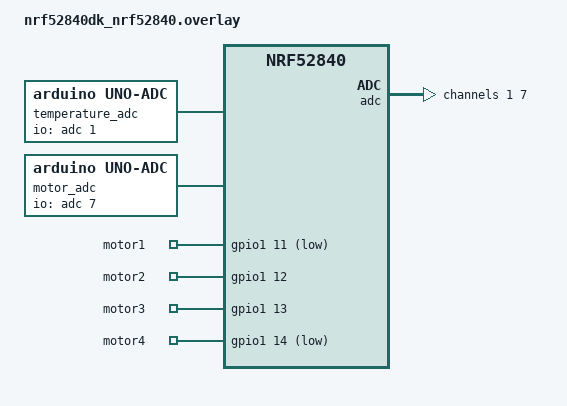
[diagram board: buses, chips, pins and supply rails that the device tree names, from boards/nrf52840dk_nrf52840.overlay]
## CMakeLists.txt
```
#
# Copyright (c) 2023 Nordic Semiconductor ASA
#
# SPDX-License-Identifier: LicenseRef-Nordic-5-Clause
#

cmake_minimum_required(VERSION 3.20.0)

# Set Kconfig root files that will be processed as a first Kconfig for used child images.
set(mcuboot_KCONFIG_ROOT "\\\${ZEPHYR_CONNECTEDHOMEIP_MODULE_DIR}/config/nrfconnect/chip-module/Kconfig.mcuboot.root")
set(multiprotocol_rpmsg_KCONFIG_ROOT "\\\${ZEPHYR_CONNECTEDHOMEIP_MODULE_DIR}/config/nrfconnect/chip-module/Kconfig.multiprotocol_rpmsg.root")
set(hci_rpmsg_KCONFIG_ROOT "\\\${ZEPHYR_CONNECTEDHOMEIP_MODULE_DIR}/config/nrfconnect/chip-module/Kconfig.hci_rpmsg.root")

# For prj.conf the CONF_FILE is empty. In other case extract the exact file name from the path string.
if(CONF_FILE)
    get_filename_component(CONFIG_FILE_NAME ${CONF_FILE} NAME)
endif()

if(NOT CONFIG_FILE_NAME STREQUAL "prj_no_dfu.conf")
    set(PM_STATIC_YML_FILE ${CMAKE_CURRENT_SOURCE_DIR}/configuration/${BOARD}/pm_static_dfu.yml)
endif()

find_package(Zephyr HINTS $ENV{ZEPHYR_BASE})

project(matter-template)

set(COMMON_ROOT ${ZEPHYR_NRF_MODULE_DIR}/samples/matter/common)
set(NLIO_ROOT ${ZEPHYR_CONNECTEDHOMEIP_MODULE_DIR}/third_party/nlio/repo)
include(${ZEPHYR_CONNECTEDHOMEIP_MODULE_DIR}/config/nrfconnect/app/enable-gnu-std.cmake)
include(${ZEPHYR_CONNECTEDHOMEIP_MODULE_DIR}/src/app/chip_data_model.cmake)

# NORDIC SDK APP START
target_include_directories(app PRIVATE
    src
    ${COMMON_ROOT}/src
    ${NLIO_ROOT}/include
    ${ZEPHYR_CONNECTEDHOMEIP_MODULE_DIR}/zzz_generated/app-common
)

target_sources(app PRIVATE
    src/app_task.cpp
    src/main.cpp
    src/temp_sensor_manager.cpp
    src/temperature_manager.cpp
    src/zcl_callbacks.cpp
    src/zap-generated/IMClusterCommandHandler.cpp
    src/zap-generated/callback-stub.cpp
    src/binding_handler.cpp
    ${COMMON_ROOT}/src/led_widget.cpp
)


if(CONFIG_CHIP_OTA_REQUESTOR OR CONFIG_MCUMGR_TRANSPORT_BT)
    target_sources(app PRIVATE ${COMMON_ROOT}/src/ota_util.cpp)
endif()

if(CONFIG_MCUMGR_TRANSPORT_BT)
    zephyr_library_link_libraries(MCUBOOT_BOOTUTIL)
    target_sources(app PRIVATE ${COMMON_ROOT}/src/dfu_over_smp.cpp)
endif()

if(CONFIG_THERMOSTAT_EXTERNAL_SENSOR)
    target_sources(app PRIVATE src/temperature_measurement/real_temp.cpp)
else()
if(CONFIG_THERMOSTAT_MEASURED_TEMPERATURE)
    target_sources(app PRIVATE src/temperature_measurement/measured_temperature.cpp)
else()
    target_sources(app PRIVATE src/temperature_measurement/simulated_temp.cpp)
endif()
endif()


chip_configure_data_model(app
    INCLUDE_SERVER
    BYPASS_IDL
    GEN_DIR src/zap-generated
    ZAP_FILE ${CMAKE_CURRENT_SOURCE_DIR}/src/thermostat.zap
)
# NORDIC SDK APP END
```

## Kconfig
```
#
# Copyright (c) 2023 Nordic Semiconductor
#
# SPDX-License-Identifier: LicenseRef-Nordic-5-Clause
#
mainmenu "Matter Thermostat sample application"

config THERMOSTAT_MEASURED_TEMPERATURE
	bool "Select if the temerature is simulated or measured with sensor."

config THERMOSTAT_EXTERNAL_SENSOR
	bool "Select if the temperature measurement is provided directly from an external sensor."
	help
	 Set to true to enable the temperature measurement from a physical external sensor. Set to false to simulate the temperature measurement.

config THERMOSTAT_TEMPERATURE_STEP
	int "Defines a simulated temperature step. Use 0 for random."
	default 0
	help
	  A temperature step that defines differences between consecutive simulated temperature measurements. If set to 0, then the step is random.

config THERMOSTAT_SIMULATED_TEMPERATURE_MAX
	int "Maximum simulated temperature value."
	default 3000

config THERMOSTAT_SIMULATED_TEMPERATURE_MIN
	int "Minimum simulated temperature value."
	default 1500

config THERMOSTAT_SIMULATED_TEMPERATURE_CHANGE
	bool "Select to set the temperature to rise or fall."
	default y
	help
	  If set to true, the simulated temperature is rising. If set to false, the simulated temperature is falling.


# Sample configuration used for Thread networking
if NET_L2_OPENTHREAD

choice OPENTHREAD_NORDIC_LIBRARY_CONFIGURATION
	default OPENTHREAD_NORDIC_LIBRARY_MTD
endchoice

choice OPENTHREAD_DEVICE_TYPE
	default OPENTHREAD_MTD
endchoice

endif # NET_L2_OPENTHREAD

source "${ZEPHYR_BASE}/../modules/lib/matter/config/nrfconnect/chip-module/Kconfig.features"
source "${ZEPHYR_BASE}/../modules/lib/matter/config/nrfconnect/chip-module/Kconfig.defaults"
source "Kconfig.zephyr"
```

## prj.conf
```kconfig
#
# Copyright (c) 2023 Nordic Semiconductor ASA
#
# SPDX-License-Identifier: LicenseRef-Nordic-5-Clause
#

# This sample uses Kconfig.defaults to set options common for all
# samples. This file should contain only options specific for this sample
# or overrides of default values.

# Enable CHIP
CONFIG_CHIP=y
CONFIG_CHIP_ENABLE_PAIRING_AUTOSTART=y
CONFIG_CHIP_PROJECT_CONFIG="src/chip_project_config.h"
# 32782 == 0x800e (example thermostat product)
CONFIG_CHIP_DEVICE_PRODUCT_ID=32782
CONFIG_STD_CPP14=y

# Add support for LEDs and buttons on Nordic development kits
CONFIG_DK_LIBRARY=y

# Bluetooth Low Energy configuration
CONFIG_BT_DEVICE_NAME="MatterThermo"

# Other settings
CONFIG_THREAD_NAME=y
CONFIG_MPU_STACK_GUARD=y
CONFIG_RESET_ON_FATAL_ERROR=n
CONFIG_CHIP_LIB_SHELL=y

# Disable NFC commissioning
CONFIG_CHIP_NFC_COMMISSIONING=y

# Reduce application size
CONFIG_USE_SEGGER_RTT=n

# Enable Factory Data feature
CONFIG_CHIP_FACTORY_DATA=y
CONFIG_CHIP_FACTORY_DATA_BUILD=y

CONFIG_THERMOSTAT_MEASURED_TEMPERATURE=y
CONFIG_ADC=y
```

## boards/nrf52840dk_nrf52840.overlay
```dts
/* Copyright (c) 2023 Nordic Semiconductor ASA
 *
 * SPDX-License-Identifier: LicenseRef-Nordic-5-Clause
 */

 / {
	chosen {
		nordic,pm-ext-flash = &mx25r64;
	};
	
	temperature_adc {
		compatible = "arduino,uno-adc";
		#io-channel-cells = <1>;
		io-channel-map = <0 &arduino_adc 0>;
		io-channels = <&adc 1>;
	};

	motor_adc {
		compatible = "arduino,uno-adc";
		#io-channel-cells = <1>;
		io-channel-map = <0 &arduino_adc 5>;
		io-channels = <&adc 7>;
	};

	leds {
		motor1: motor_1 {
			gpios = <&gpio1 11 (GPIO_ACTIVE_LOW)>;
		};

		motor2: motor_2 {
			gpios = <&gpio1 12 0>;
		};

		motor3: motor_3 {
			gpios = <&gpio1 13 0>;
		};

		motor4: motor_4 {
			gpios = <&gpio1 14 (GPIO_ACTIVE_LOW)>;
		};
	};
};


/ {
	/*
	* In some default configurations within the nRF Connect SDK,
	* e.g. on nRF52840, the chosen zephyr,entropy node is &cryptocell.
	* This devicetree overlay ensures that default is overridden wherever it
	* is set, as this application uses the RNG node for entropy exclusively.
	*/
	chosen {
		zephyr,entropy = &rng;
	};
};

/* Disable unused peripherals to reduce power consumption */
&adc {
	#address-cells = <1>;
	#size-cells = <0>;

	status = "okay";

	channel@1{
		reg = <1>;
		zephyr,gain = "ADC_GAIN_1_6";
		zephyr,reference = "ADC_REF_INTERNAL";
		zephyr,acquisition-time = <ADC_ACQ_TIME_DEFAULT>;
		zephyr,input-positive = <NRF_SAADC_AIN1>; /* P0.03 */
		zephyr,resolution = <12>;
	};

	channel@7{
		reg = <7>;
		zephyr,gain = "ADC_GAIN_1_6";
		zephyr,reference = "ADC_REF_INTERNAL";
		zephyr,acquisition-time = <ADC_ACQ_TIME_DEFAULT>;
		zephyr,input-positive = <NRF_SAADC_AIN7>; /* P0.31 */
		zephyr,resolution = <12>;
	};
};
&uart1 {
	status = "disabled";
};
&i2c0 {
	status = "disabled";
};
&pwm0 {
	status = "disabled";
};
&spi1 {
	status = "disabled";
};
&spi3 {
	status = "disabled";
};
&usbd {
	status = "disabled";
};
```

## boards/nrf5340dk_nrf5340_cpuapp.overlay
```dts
/*
 * Copyright (c) 2023 Nordic Semiconductor ASA
 *
 * SPDX-License-Identifier: LicenseRef-Nordic-5-Clause
 */

/ {
	chosen {
		nordic,pm-ext-flash = &mx25r64;
	};
	
	temperature_adc {
		compatible = "arduino,uno-adc";
		#io-channel-cells = <1>;
		io-channel-map = <0 &arduino_adc 0>;
		io-channels = <&adc 0>;
	};

	motor_adc {
		compatible = "arduino,uno-adc";
		#io-channel-cells = <1>;
		io-channel-map = <0 &arduino_adc 5>;
		io-channels = <&adc 5>;
	};

	leds {
		motor1: motor_1 {
			gpios = <&gpio1 11 (GPIO_ACTIVE_LOW)>;
		};

		motor2: motor_2 {
			gpios = <&gpio1 12 0>;
		};

		motor3: motor_3 {
			gpios = <&gpio1 13 0>;
		};

		motor4: motor_4 {
			gpios = <&gpio1 14 (GPIO_ACTIVE_LOW)>;
		};
	};
};

/* Disable unused peripherals to reduce power consumption */
&adc {
	#address-cells = <1>;
	#size-cells = <0>;

	status = "okay";

	channel@0{
		reg = <0>;
		zephyr,gain = "ADC_GAIN_1_6";
		zephyr,reference = "ADC_REF_INTERNAL";
		zephyr,acquisition-time = <ADC_ACQ_TIME_DEFAULT>;
		zephyr,input-positive = <NRF_SAADC_AIN0>; /* P0.04 */
		zephyr,resolution = <12>;
	};

	channel@5{
		reg = <5>;
		zephyr,gain = "ADC_GAIN_1_6";
		zephyr,reference = "ADC_REF_INTERNAL";
		zephyr,acquisition-time = <ADC_ACQ_TIME_DEFAULT>;
		zephyr,input-positive = <NRF_SAADC_AIN5>; /* P0.26 */
		zephyr,resolution = <12>;
	};
};
&i2c1 {
	status = "disabled";
};
&pwm0 {
	status = "disabled";
};
&spi2 {
	status = "disabled";
};
&usbd {
	status = "disabled";
};
```

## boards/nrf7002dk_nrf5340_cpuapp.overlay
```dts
/*
 * Copyright (c) 2023 Nordic Semiconductor ASA
 *
 * SPDX-License-Identifier: LicenseRef-Nordic-5-Clause
 */

/ {
	chosen {
		nordic,pm-ext-flash = &mx25r64;
	};

	temperature_adc {
		compatible = "arduino,uno-adc";
		#io-channel-cells = <1>;
		io-channel-map = <0 &arduino_adc 0>;
		io-channels = <&adc 0>;
	};

	motor_adc {
		compatible = "arduino,uno-adc";
		#io-channel-cells = <1>;
		io-channel-map = <0 &arduino_adc 5>;
		io-channels = <&adc 5>;
	};

	leds {
		motor1: motor_1 {
			gpios = <&gpio1 11 (GPIO_ACTIVE_LOW)>;
		};

		motor2: motor_2 {
			gpios = <&gpio1 12 0>;
		};

		motor3: motor_3 {
			gpios = <&gpio1 13 0>;
		};

		motor4: motor_4 {
			gpios = <&gpio1 14 (GPIO_ACTIVE_LOW)>;
		};
	};
};

&adc {
	#address-cells = <1>;
	#size-cells = <0>;

	status = "okay";

	channel@0{
		reg = <0>;
		zephyr,gain = "ADC_GAIN_1_6";
		zephyr,reference = "ADC_REF_INTERNAL";
		zephyr,acquisition-time = <ADC_ACQ_TIME_DEFAULT>;
		zephyr,input-positive = <NRF_SAADC_AIN0>; /* P0.04 */
		zephyr,resolution = <12>;
	};

	channel@5{
		reg = <5>;
		zephyr,gain = "ADC_GAIN_1_6";
		zephyr,reference = "ADC_REF_INTERNAL";
		zephyr,acquisition-time = <ADC_ACQ_TIME_DEFAULT>;
		zephyr,input-positive = <NRF_SAADC_AIN5>; /* P0.26 */
		zephyr,resolution = <12>;
	};
};
```

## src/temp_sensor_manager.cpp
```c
/*
 * Copyright (c) 2023 Nordic Semiconductor ASA
 *
 * SPDX-License-Identifier: LicenseRef-Nordic-5-Clause
 */

#include "temp_sensor_manager.h"
#include "app_task.h"
#include "temperature_measurement/sensor.h"

LOG_MODULE_DECLARE(app, CONFIG_CHIP_APP_LOG_LEVEL);

using namespace chip;
using namespace chip::DeviceLayer;

static constexpr EndpointId kThermostatEndpoint = 1;

k_timer sSensorTimer;

CHIP_ERROR TempSensorManager::Init()
{
	k_timer_init(&sSensorTimer, &TempSensorManager::TimerEventHandler, nullptr);
	k_timer_start(&sSensorTimer, K_MSEC(kSensorTimerPeriodMs), K_MSEC(kSensorTimerPeriodMs));
	return CHIP_NO_ERROR;
}

void TempSensorManager::TimerEventHandler(k_timer *timer)
{
	AppEvent event;
	event.Type = AppEventType::Timer;
	event.TimerEvent.Context = k_timer_user_data_get(timer);
	event.Handler = TempSensorManager::SensorTimerEventHandler;
	AppTask::Instance().PostEvent(event);
}

/*
 *	This function is called when the timer is stopped and initiate temperature measurement.
 *	Depending ond object given to GetMeasurement() function thermostat will use true temeprature device or simulated
 *	values
 */

void TempSensorManager::SensorTimerEventHandler(const AppEvent &Event)
{
#ifdef CONFIG_THERMOSTAT_EXTERNAL_SENSOR
	GetMeasurement(RealSensor::Instance());
#else
#ifdef CONFIG_THERMOSTAT_MEASURED_TEMPERATURE
	GetMeasurement(MeasuredSensor::Instance());
#else
	GetMeasurement(MockedSensor::Instance());
#endif
#endif
}

void TempSensorManager::SetLocalTemperature(int16_t temperature)
{
	PlatformMgr().LockChipStack();
	app::Clusters::Thermostat::Attributes::LocalTemperature::Set(kThermostatEndpoint, temperature);
	PlatformMgr().UnlockChipStack();
}

template <typename T> void TempSensorManager::GetMeasurement(T const &sensor)
{
	sensor.Instance().TemperatureMeasurement();
}
```

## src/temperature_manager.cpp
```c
/*
 * Copyright (c) 2023 Nordic Semiconductor ASA
 *
 * SPDX-License-Identifier: LicenseRef-Nordic-5-Clause
 */

#include "temperature_manager.h"
#include "app_config.h"
#include "app_task.h"
#include <zephyr/logging/log.h>

#include <zephyr/device.h>
#include <zephyr/devicetree.h>
#include <zephyr/drivers/gpio.h>
#include <zephyr/drivers/adc.h>
#include <zephyr/kernel.h>

LOG_MODULE_DECLARE(app, CONFIG_CHIP_APP_LOG_LEVEL);

#if !DT_NODE_EXISTS(DT_NODELABEL(motor1))
#error "Overlay for motor1 node not properly defined."
#endif
#if !DT_NODE_EXISTS(DT_NODELABEL(motor2))
#error "Overlay for motor2 node not properly defined."
#endif
#if !DT_NODE_EXISTS(DT_NODELABEL(motor3))
#error "Overlay for motor3 node not properly defined."
#endif
#if !DT_NODE_EXISTS(DT_NODELABEL(motor4))
#error "Overlay for motor4 node not properly defined."
#endif

static const struct gpio_dt_spec motor_1 =
	GPIO_DT_SPEC_GET(DT_NODELABEL(motor1), gpios);

static const struct gpio_dt_spec motor_2 =
	GPIO_DT_SPEC_GET(DT_NODELABEL(motor2), gpios);

static const struct gpio_dt_spec motor_3 =
	GPIO_DT_SPEC_GET(DT_NODELABEL(motor3), gpios);

static const struct gpio_dt_spec motor_4 =
	GPIO_DT_SPEC_GET(DT_NODELABEL(motor4), gpios);


#if !DT_NODE_EXISTS(DT_PATH(motor_adc)) || \
	!DT_NODE_HAS_PROP(DT_PATH(motor_adc), io_channels)
#error "No suitable devicetree overlay specified"
#endif
static const struct adc_dt_spec motor_adc =
	ADC_DT_SPEC_GET_BY_IDX(DT_PATH(motor_adc), 0);

using namespace chip;
using namespace ::chip::DeviceLayer;
using namespace ::chip::app::Clusters;

constexpr EndpointId kThermostatEndpoint = 1;

k_timer sStallTimer;

namespace
{

/* Convert and return only complete part of value to printable type */
uint8_t ReturnCompleteValue(int16_t Value)
{
	return static_cast<uint8_t>(Value / 100);
}

/* Converts and returns only reminder part of value to printable type.
 * This formula rounds reminder value to one significant figure
 */

uint8_t ReturnRemainderValue(int16_t Value)
{
	return static_cast<uint8_t>((Value % 100 + 5) / 10);
}

} // namespace


void motor_open_close(bool open_close){
	if(open_close){
		gpio_pin_set_dt(&motor_1, 1);
		gpio_pin_set_dt(&motor_2, 0);
		gpio_pin_set_dt(&motor_3, 1);
		gpio_pin_set_dt(&motor_4, 0);
	}
	else{
		gpio_pin_set_dt(&motor_1, 0);
		gpio_pin_set_dt(&motor_2, 1);
		gpio_pin_set_dt(&motor_3, 0);
		gpio_pin_set_dt(&motor_4, 1);
	}
}


CHIP_ERROR TemperatureManager::Init()
{
	app::DataModel::Nullable<int16_t> temp;

	if (!device_is_ready(motor_1.port) || !device_is_ready(motor_2.port) || !device_is_ready(motor_3.port) || !device_is_ready(motor_4.port)) {
		LOG_ERR("Motor pins not configured.");
		return CHIP_ERROR_NO_MEMORY;
	}

	gpio_pin_configure_dt(&motor_1, GPIO_OUTPUT);
	gpio_pin_configure_dt(&motor_2, GPIO_OUTPUT);
	gpio_pin_configure_dt(&motor_3, GPIO_OUTPUT);
	gpio_pin_configure_dt(&motor_4, GPIO_OUTPUT);
	open_closed = true;
	motor_open_close(open_closed);

	int err;
    if (!adc_is_ready_dt(&motor_adc)) {
        LOG_ERR("ADC controller device %s not ready", motor_adc.dev->name);
        return CHIP_ERROR_NO_MEMORY;
    }
    err = adc_channel_setup_dt(&motor_adc);
    if (err < 0) {
        LOG_ERR("Could not setup channel (%d)", err);
        return CHIP_ERROR_NO_MEMORY;
    }
    LOG_INF("Motor ADC initialized.");

	k_timer_init(&sStallTimer, TemperatureManager::StallTimerEventHandler, nullptr);
	k_timer_start(&sStallTimer, K_MSEC(200), K_FOREVER);

	PlatformMgr().LockChipStack();
	Thermostat::Attributes::LocalTemperature::Get(kThermostatEndpoint, temp);
	Thermostat::Attributes::OccupiedHeatingSetpoint::Get(kThermostatEndpoint, &mHeatingCelsiusSetPoint);
	Thermostat::Attributes::SystemMode::Get(kThermostatEndpoint, &mThermMode);
	PlatformMgr().UnlockChipStack();

	mCurrentTempCelsius = temp.Value();

	LogThermostatStatus();

	return CHIP_NO_ERROR;
}

void StallWorkHandle(struct k_work *work)
{
    int err;
	uint16_t buf;
    struct adc_sequence sequence = {
		.buffer = &buf,
		/* buffer size in bytes, not number of samples */
		.buffer_size = sizeof(buf),
	};
    LOG_INF("ADC reading:");
    int32_t val_mv;

    LOG_INF("%s, channel %d: ",
    motor_adc.dev->name,
    motor_adc.channel_id);

    if(adc_sequence_init_dt(&motor_adc, &sequence) != 0)
	{
		LOG_ERR("Problem");
	}

    err = adc_read(motor_adc.dev, &sequence);
    if (err < 0) {
        LOG_ERR("Could not read (%d)\n", err);
        return;
    }
    /*
    * If using differential mode, the 16 bit value
    * in the ADC sample buffer should be a signed 2's
    * complement value.
    */
    if (motor_adc.channel_cfg.differential) {
        val_mv = (int32_t)((int16_t)buf);
    } else {
        val_mv = (int32_t)buf;
    }
    LOG_INF("Measured voltage %d V", val_mv);
    err = adc_raw_to_millivolts_dt(&motor_adc, &val_mv);
    /* conversion to mV may not be supported, skip if not */
    if (err < 0) {
        LOG_ERR(" (value in mV not available)\n");
    } else {
        LOG_INF(" = %d mV", val_mv);
    }
	if(val_mv < 1330){
		gpio_pin_set_dt(&motor_1, 0);
		gpio_pin_set_dt(&motor_2, 0);
		gpio_pin_set_dt(&motor_3, 0);
		gpio_pin_set_dt(&motor_4, 0);
		LOG_INF("Stall detected.");
	}
	else{
		k_timer_start(&sStallTimer, K_MSEC(200), K_FOREVER);
	}
}

K_WORK_DEFINE(stall_work, StallWorkHandle);

void TemperatureManager::StallTimerEventHandler(k_timer *timer)
{
	k_work_submit(&stall_work);
}

void TemperatureManager::ContorlThermostat()
{
	if(mThermMode == 0x04){
		if(mCurrentTempCelsius < mHeatingCelsiusSetPoint){
			if(open_closed){
				open_closed = true;
				motor_open_close(open_closed);
				k_timer_start(&sStallTimer, K_MSEC(200), K_FOREVER);
			}
		}
		else{
			if(open_closed){
				open_closed = false;
				motor_open_close(open_closed);
				k_timer_start(&sStallTimer, K_MSEC(200), K_FOREVER);
			}
		}
	}
	else{
		if(open_closed){
			open_closed = false;
			motor_open_close(open_closed);
			k_timer_start(&sStallTimer, K_MSEC(200), K_FOREVER);
		}
	}
}

void TemperatureManager::LogThermostatStatus()
{
	LOG_INF("Thermostat:");
	LOG_INF("Mode - %d", GetMode());
	LOG_INF("Temperature - %d,%d'C", ReturnCompleteValue(GetCurrentTemp()), ReturnRemainderValue(GetCurrentTemp()));
	LOG_INF("HeatingSetpoint - %d,%d'C", ReturnCompleteValue(GetHeatingSetPoint()),
		ReturnRemainderValue(GetHeatingSetPoint()));
}

void TemperatureManager::AttributeChangeHandler(EndpointId endpointId, AttributeId attributeId, uint8_t *value,
						uint16_t size)
{
	switch (attributeId) {
	case Thermostat::Attributes::LocalTemperature::Id: {
		int16_t temp = *reinterpret_cast<int16_t *>(value);
		mCurrentTempCelsius = temp;
	} break;

	case Thermostat::Attributes::OccupiedHeatingSetpoint::Id: {
		int16_t heatingTemp = *reinterpret_cast<int16_t *>(value);
		mHeatingCelsiusSetPoint = heatingTemp;
		LOG_INF("Heating TEMP %d", mHeatingCelsiusSetPoint);
	} break;

	case Thermostat::Attributes::SystemMode::Id: {
		uint8_t mode = *value;
		mThermMode = mode;
		LOG_INF("Mode: %d", mThermMode);
	} break;

	default: {
		LOG_INF("Unhandled thermostat attribute %x", attributeId);
		return;
	} break;
	}

	LogThermostatStatus();
}

const uint8_t TemperatureManager::GetMode()
{
	return mThermMode;
}

const uint16_t TemperatureManager::GetCurrentTemp()
{
	return mCurrentTempCelsius;
}
const uint16_t TemperatureManager::GetHeatingSetPoint()
{
	return mHeatingCelsiusSetPoint;
}
```

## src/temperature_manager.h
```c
/*
 * Copyright (c) 2023 Nordic Semiconductor ASA
 *
 * SPDX-License-Identifier: LicenseRef-Nordic-5-Clause
 */

#include <stdbool.h>
#include <stdint.h>

#include "app_event.h"

#include <app-common/zap-generated/attributes/Accessors.h>

#include <lib/core/CHIPError.h>

using namespace chip;

class TemperatureManager {
public:
	static TemperatureManager &Instance()
	{
		static TemperatureManager sTemperatureManager;
		return sTemperatureManager;
	};

	CHIP_ERROR Init(void);
	void AttributeChangeHandler(EndpointId endpointId, AttributeId attributeId, uint8_t *value, uint16_t size);
	const uint8_t GetMode(void);
	const uint16_t GetCurrentTemp(void);
	const uint16_t GetHeatingSetPoint(void);

	void LogThermostatStatus(void);

private:
	void ContorlThermostat(void);
	static void StallTimerEventHandler(k_timer *timer);
	int16_t mCurrentTempCelsius;
	int16_t mHeatingCelsiusSetPoint;
	uint8_t mThermMode;
	bool open_closed;
};
```
